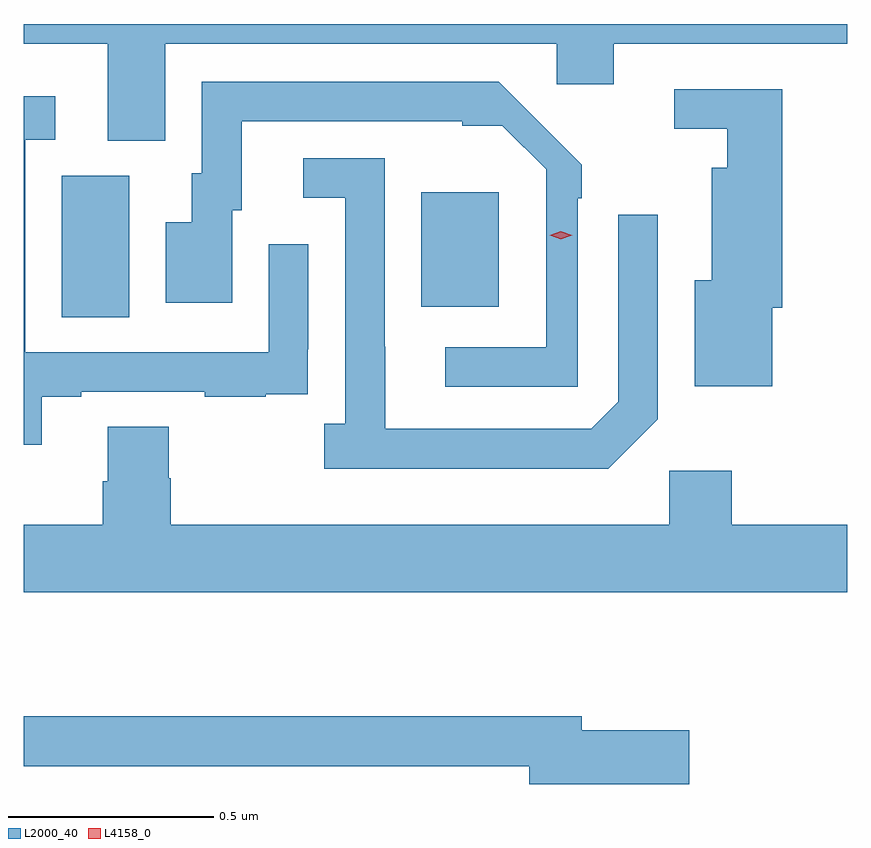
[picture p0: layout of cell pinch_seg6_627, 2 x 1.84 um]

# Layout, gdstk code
import gdstk
lib = gdstk.Library(unit=1e-6, precision=1e-09)
def R(c, l, rs):  # rectangles x0, y0, x1, y1
    for r in rs: c.add(gdstk.rectangle(r[:2], r[2:], *l))
def P(c, l, *ps):  # polygons
    for p in ps: c.add(gdstk.Polygon(p, *l))
L2000_40 = (2000, 40)
L4158_0 = (4158, 0)

pinch_seg6_627 = lib.new_cell('pinch_seg6_627')
R(pinch_seg6_627, L2000_40, [(494.546,997.288,494.71,997.632), (495.419,997.313,495.607,997.591)])
P(pinch_seg6_627, L2000_40, [(494.797,997.952),(495.747,997.952),(495.747,997.854),(495.886,997.854),(495.886,997.952),(496.453,997.952),(496.453,998),(494.453,998),(494.453,997.952),(494.657,997.952),(494.657,997.717),(494.797,997.717)],
  [(495.798,997.577),(495.808,997.577),(495.808,997.658),(495.606,997.86),(494.886,997.86),(494.886,997.638),(494.861,997.638),(494.861,997.519),(494.798,997.519),(494.798,997.323),(494.959,997.323),(494.959,997.548),(494.983,997.548),(494.983,997.764),(495.518,997.764),(495.518,997.753),(495.615,997.753),(495.722,997.647),(495.722,997.215),(495.477,997.215),(495.477,997.119),(495.798,997.119)],
  [(496.27,997.311),(496.295,997.311),(496.295,997.842),(496.032,997.842),(496.032,997.746),(496.161,997.746),(496.161,997.651),(496.124,997.651),(496.124,997.378),(496.082,997.378),(496.082,997.121),(496.27,997.121)],
  [(494.497,997.095),(494.593,997.095),(494.593,997.107),(494.893,997.107),(494.893,997.095),(495.041,997.095),(495.041,997.101),(495.143,997.101),(495.143,997.21),(495.144,997.21),(495.144,997.465),(495.048,997.465),(495.048,997.203),(494.457,997.203),(494.457,997.719),(494.53,997.719),(494.53,997.825),(494.453,997.825),(494.453,996.978),(494.497,996.978)],
  [(495.993,997.041),(495.993,997.537),(495.897,997.537),(495.897,997.083),(495.831,997.017),(495.331,997.017),(495.331,997.217),(495.33,997.217),(495.33,997.674),(495.132,997.674),(495.132,997.578),(495.234,997.578),(495.234,997.03),(495.183,997.03),(495.183,996.92),(495.872,996.92)],
  [(496.453,996.784),(496.172,996.784),(496.172,996.916),(496.02,996.916),(496.02,996.784),(494.81,996.784),(494.81,996.897),(494.805,996.897),(494.805,997.022),(494.657,997.022),(494.657,996.89),(494.645,996.89),(494.645,996.784),(494.453,996.784),(494.453,996.62),(496.453,996.62)],
  [(496.069,996.285),(495.808,996.285),(495.808,996.319),(494.453,996.319),(494.453,996.198),(495.68,996.198),(495.68,996.155),(496.069,996.155)])
P(pinch_seg6_627, L4158_0, [(495.757,997.477),(495.73,997.487),(495.729,997.487),(495.73,997.487),(495.757,997.497),(495.785,997.487),(495.785,997.487),(495.785,997.487)])

lib.write_gds('pinch_seg6_627.gds')
